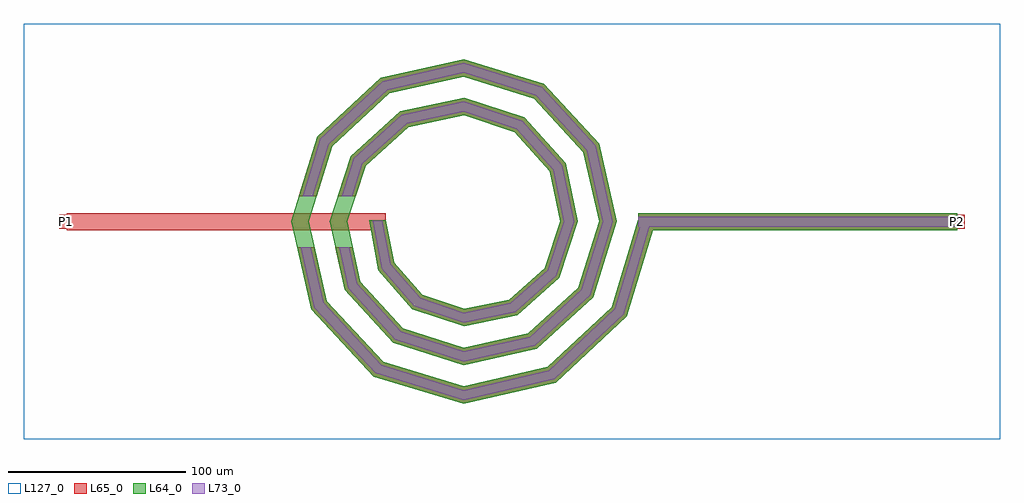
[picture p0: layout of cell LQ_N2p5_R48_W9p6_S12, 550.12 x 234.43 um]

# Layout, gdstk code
import gdstk
lib = gdstk.Library(unit=1e-6, precision=1e-09)
def R(c, l, rs):  # rectangles x0, y0, x1, y1
    for r in rs: c.add(gdstk.rectangle(r[:2], r[2:], *l))
def P(c, l, *ps):  # polygons
    for p in ps: c.add(gdstk.Polygon(p, *l))
L64_0 = (64, 0)
L65_0 = (65, 0)
L73_0 = (73, 0)
L127_0 = (127, 0)

lq_n2p5_r48_w9p6_s12 = lib.new_cell('LQ_N2p5_R48_W9p6_S12')
R(lq_n2p5_r48_w9p6_s12, L64_0, [(98.373,-4.8,278.373,4.8)])
P(lq_n2p5_r48_w9p6_s12, L64_0, [(-39.161,-22.996),(-23.337,-41.067),(0.312,-49.053),(25.698,-43.907),(45.78,-26.093),(54.514,0.284),(48.649,28.405),(28.846,50.497),(0.26,59.975),(-31.116,53.39),(-55.216,31.595),(-65.436,0.24),(-58.129,-33.83),(-34.341,-59.936),(0.222,-70.897),(36.547,-62.867),(64.658,-37.085),(76.359,0.207),(67.604,39.265),(39.828,69.381),(0.194,81.821),(-41.986,72.34),(-74.105,42.569),(-87.282,0.183),(-77.076,-44.707),(-45.309,-78.83),(0.173,-92.744),(47.429,-81.811),(83.555,-48.048),(98.58,1.396),(107.766,-1.396),(91.992,-53.304),(52.102,-90.583),(0.173,-102.678),(-50.581,-87.257),(-85.857,-49.363),(-97.215,0.183),(-82.521,47.859),(-46.622,81.132),(0.194,91.753),(45.138,77.784),(76.408,43.88),(86.29,0.207),(73.046,-42.418),(41.136,-71.684),(0.222,-80.828),(-39.701,-68.308),(-66.962,-38.391),(-75.365,0.24),(-63.568,36.985),(-35.643,62.24),(0.26,69.902),(34.272,58.826),(57.52,32.892),(64.439,0.284),(54.082,-31.562),(30.137,-52.802),(0.312,-58.975),(-28.857,-49.335),(-48.087,-27.376),(-53.263,0.922),(-43.841,0.922)])
R(lq_n2p5_r48_w9p6_s12, L65_0, [(-223.752,-4.8,-43.752,4.8), (98.373,-4.8,278.373,4.8), (-227.752,-4,-219.752,4), (274.373,-4,282.373,4)])
P(lq_n2p5_r48_w9p6_s12, L65_0, [(-77.076,-44.707),(-45.309,-78.83),(0.173,-92.744),(47.429,-81.811),(83.555,-48.049),(98.58,1.396),(107.766,-1.396),(91.992,-53.304),(52.102,-90.583),(0.173,-102.678),(-50.581,-87.257),(-85.857,-49.363),(-93.872,-14.4),(-84.023,-14.4)],
  [(-58.129,-33.831),(-34.341,-59.936),(0.222,-70.897),(36.547,-62.867),(64.658,-37.085),(76.359,0.208),(67.604,39.266),(39.828,69.381),(0.194,81.821),(-41.986,72.34),(-74.105,42.569),(-82.788,14.4),(-92.833,14.4),(-82.521,47.859),(-46.622,81.132),(0.194,91.753),(45.138,77.784),(76.408,43.88),(86.29,0.208),(73.047,-42.419),(41.136,-71.684),(0.222,-80.828),(-39.701,-68.308),(-66.962,-38.391),(-72.18,-14.4),(-62.356,-14.4)],
  [(-23.337,-41.067),(0.312,-49.053),(25.698,-43.907),(45.78,-26.094),(54.514,0.284),(48.649,28.405),(28.846,50.497),(0.26,59.975),(-31.116,53.39),(-55.216,31.595),(-60.736,14.4),(-70.819,14.4),(-63.568,36.985),(-35.643,62.24),(0.26,69.902),(34.272,58.826),(57.52,32.892),(64.439,0.284),(54.082,-31.562),(30.137,-52.802),(0.312,-58.975),(-28.857,-49.335),(-48.087,-27.376),(-53.263,0.922),(-43.841,0.922),(-39.162,-22.996)])
R(lq_n2p5_r48_w9p6_s12, L73_0, [(98.373,-2.8,278.373,2.8)])
P(lq_n2p5_r48_w9p6_s12, L73_0, [(-78.905,-45.677),(-46.408,-80.586),(0.101,-94.814),(48.403,-83.638),(85.313,-49.143),(100.494,0.814),(105.852,0.814),(90.234,-52.209),(51.129,-88.756),(0.101,-100.608),(-49.483,-85.501),(-84.028,-48.393),(-91.82,-14.4),(-86.075,-14.4)],
  [(-59.969,-34.781),(-35.458,-61.68),(0.13,-72.966),(37.503,-64.704),(66.406,-38.197),(78.428,0.121),(69.438,40.227),(40.934,71.132),(0.113,83.89),(-42.951,74.172),(-75.859,43.671),(-84.881,14.4),(-90.74,14.4),(-80.768,46.757),(-45.656,79.301),(0.113,89.684),(44.032,76.034),(74.574,42.919),(84.221,0.121),(71.299,-41.307),(40.18,-69.847),(0.13,-78.759),(-38.584,-66.564),(-65.122,-37.441),(-70.134,-14.4),(-64.403,-14.4)],
  [(-24.487,-42.789),(0.182,-51.12),(26.623,-45.76),(47.51,-27.233),(56.582,0.165),(50.497,29.34),(29.976,52.232),(0.152,62.043),(-32.059,55.234),(-56.956,32.718),(-62.837,14.4),(-68.718,14.4),(-61.828,35.862),(-34.7,60.396),(0.152,67.834),(33.141,57.091),(55.672,31.957),(62.371,0.165),(52.353,-30.423),(29.212,-50.949),(0.182,-56.908),(-27.707,-47.613),(-46.227,-26.464),(-51.3,0.538),(-45.804,0.538),(-41.021,-23.909)])
R(lq_n2p5_r48_w9p6_s12, L127_0, [(-247.752,-122.678,302.373,111.753)])
lq_n2p5_r48_w9p6_s12.add(gdstk.Label('P2', (278.373,0), layer=65, texttype=0))
lq_n2p5_r48_w9p6_s12.add(gdstk.Label('P1', (-223.752,0), layer=65, texttype=0))
lq_n2p5_r48_w9p6_s12.add(gdstk.Label('P2', (282.373,0), layer=145, texttype=0))
lq_n2p5_r48_w9p6_s12.add(gdstk.Label('P1', (-227.752,0), layer=145, texttype=0))

lib.write_gds('LQ_N2p5_R48_W9p6_S12.gds')
